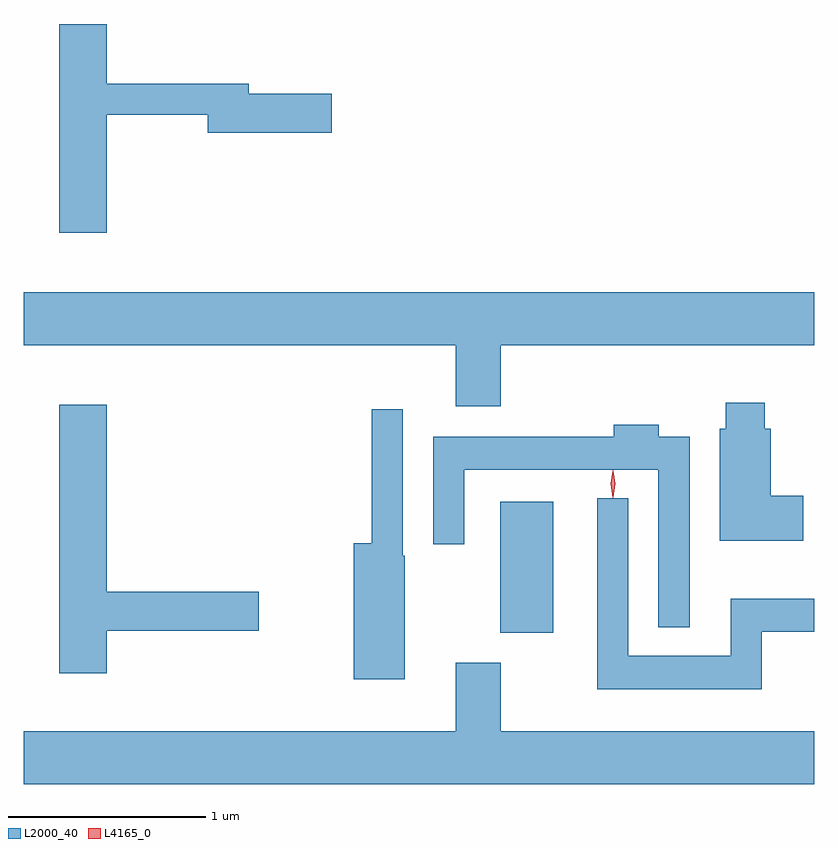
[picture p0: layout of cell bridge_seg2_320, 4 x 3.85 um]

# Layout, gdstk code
import gdstk
lib = gdstk.Library(unit=1e-6, precision=1e-09)
def R(c, l, rs):  # rectangles x0, y0, x1, y1
    for r in rs: c.add(gdstk.rectangle(r[:2], r[2:], *l))
def P(c, l, *ps):  # polygons
    for p in ps: c.add(gdstk.Polygon(p, *l))
L2000_40 = (2000, 40)
L4165_0 = (4165, 0)

bridge_seg2_320 = lib.new_cell('bridge_seg2_320')
R(bridge_seg2_320, L2000_40, [(449.846,1040.201,450.114,1040.864)])
P(bridge_seg2_320, L2000_40, [(447.854,1042.821),(448.366,1042.821),(448.366,1042.731),(448.994,1042.731),(448.994,1042.929),(448.574,1042.929),(448.574,1042.979),(447.854,1042.979),(447.854,1043.281),(447.616,1043.281),(447.616,1042.226),(447.854,1042.226)],
  [(449.849,1041.656),(451.435,1041.656),(451.435,1041.924),(447.435,1041.924),(447.435,1041.656),(449.621,1041.656),(449.621,1041.346),(449.849,1041.346)],
  [(451.379,1040.894),(451.214,1040.894),(451.214,1041.234),(451.184,1041.234),(451.184,1041.364),(450.986,1041.364),(450.986,1041.234),(450.956,1041.234),(450.956,1040.666),(451.379,1040.666)],
  [(447.854,1040.211),(448.624,1040.211),(448.624,1040.409),(447.854,1040.409),(447.854,1041.354),(447.616,1041.354),(447.616,1039.996),(447.854,1039.996)],
  [(449.364,1040.59),(449.354,1040.59),(449.354,1041.333),(449.196,1041.333),(449.196,1040.654),(449.106,1040.654),(449.106,1039.966),(449.364,1039.966)],
  [(450.804,1041.194),(450.649,1041.194),(450.649,1041.254),(450.421,1041.254),(450.421,1041.194),(449.506,1041.194),(449.506,1040.648),(449.664,1040.648),(449.664,1041.026),(450.646,1041.026),(450.646,1040.228),(450.804,1040.228)],
  [(451.169,1040.206),(451.435,1040.206),(451.435,1040.374),(451.011,1040.374),(451.011,1040.084),(450.494,1040.084),(450.494,1040.882),(450.336,1040.882),(450.336,1039.916),(451.169,1039.916)],
  [(451.435,1039.704),(449.849,1039.704),(449.849,1040.049),(449.621,1040.049),(449.621,1039.704),(447.435,1039.704),(447.435,1039.436),(451.435,1039.436)])
P(bridge_seg2_320, L4165_0, [(450.414,1040.884),(450.414,1040.884),(450.404,1040.954),(450.414,1041.022),(450.414,1041.023),(450.415,1041.022),(450.424,1040.954),(450.415,1040.884)],
  [(450.417,1040.887),(450.408,1040.954),(450.418,1041.02),(450.418,1041.02),(450.419,1041.02),(450.428,1040.954),(450.418,1040.887),(450.418,1040.887)])

lib.write_gds('bridge_seg2_320.gds')
